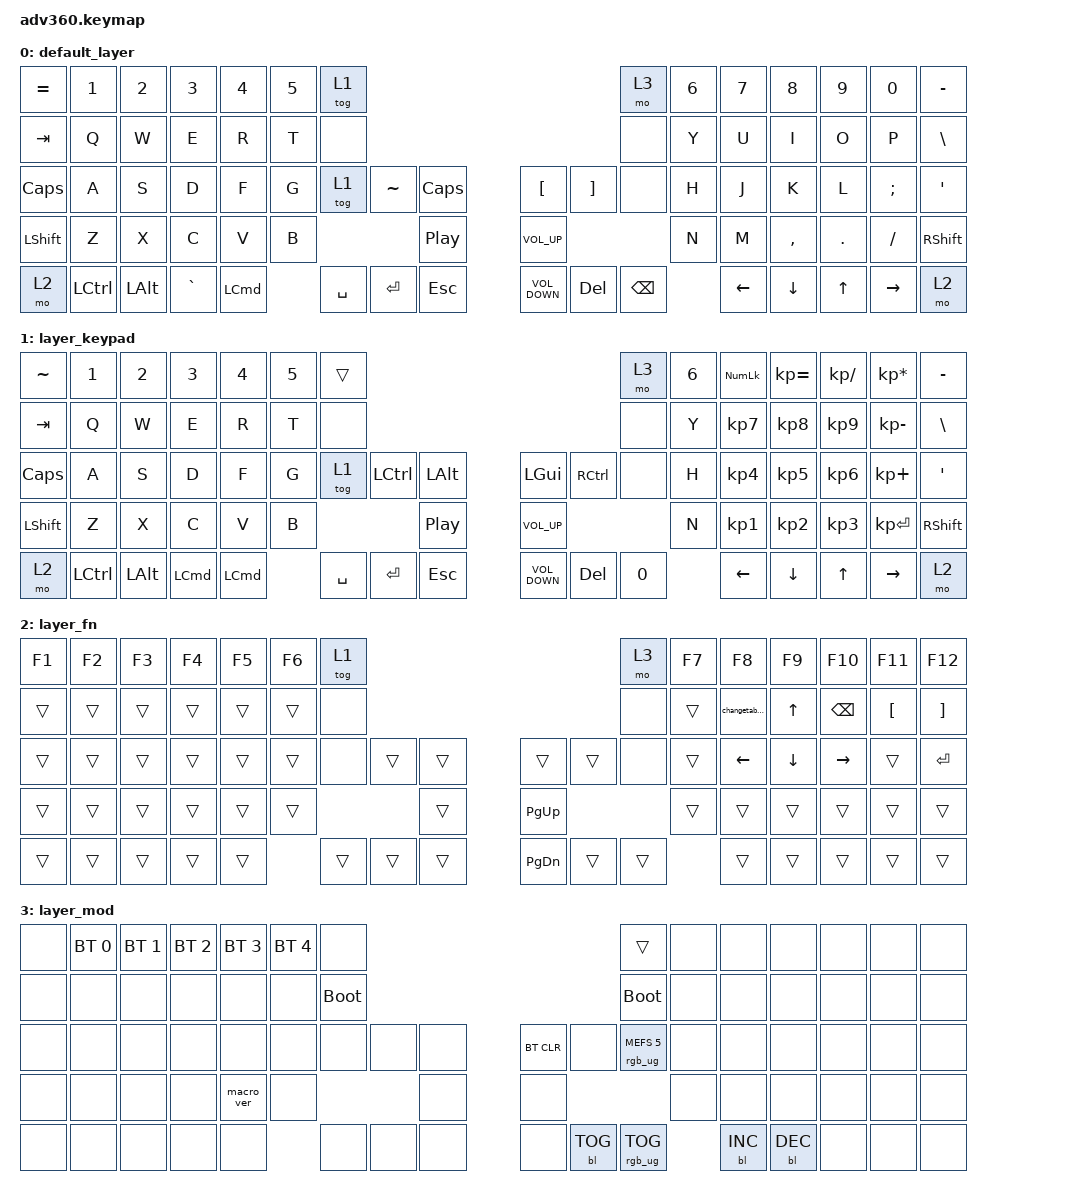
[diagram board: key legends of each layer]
/*
 * Copyright (c) 2020 The ZMK Contributors
 *
 * SPDX-License-Identifier: MIT
 */
/* THIS FILE WAS GENERATED!
 *
 * This file was generated automatically. You may or may not want to
 * edit it directly.
 */

#include <behaviors.dtsi>
#include <dt-bindings/zmk/backlight.h>
#include <dt-bindings/zmk/bt.h>
#include <dt-bindings/zmk/keys.h>
#include <dt-bindings/zmk/rgb.h>

/ {
    behaviors {
        #include "macros.dtsi"
    #include "version.dtsi"

        hm: homerow_mods {
            compatible = "zmk,behavior-hold-tap";
            label = "HOMEROW_MODS";
            #binding-cells = <2>;
            tapping-term-ms = <200>;
            quick_tap_ms = <175>;
            flavor = "tap-preferred";
            bindings = <&kp>, <&kp>;
        };
    };

    macros {
        changetabright: change_tab {
            compatible = "zmk,behavior-macro";
            #binding-cells = <0>;
            bindings = <&mo 2 &kp U>;
            label = "CHANGE_TAB";
        };

        changetableft: changetableft {
            compatible = "zmk,behavior-macro";
            #binding-cells = <0>;
            bindings = <&kp LEFT_COMMAND &kp LEFT_SHIFT &kp LEFT_BRACKET>;
            label = "CHANGETABLEFT";
        };

        cmd_grave_macro: cmd_grave_macro {
            compatible = "zmk,behavior-macro";
            label = "CMD_GRAVE_MACRO";
            #binding-cells = <0>;
            bindings = <&kp LGUI &kp GRAVE>;
        };
    };

    combos {
        compatible = "zmk,combos";

        combo_cmd_equal_as_cmd_grave {
            bindings = <&cmd_grave_macro>;
            key-positions = <28 42>;  // Replace with the appropriate key positions for Command and =
            timeout-ms = <50>;
            layers = <0>;  // Add other layers if needed
        };
    };

    keymap {
        compatible = "zmk,keymap";

        default_layer {
            bindings = <
&kp EQUAL     &kp N1            &kp N2        &kp N3     &kp N4            &kp N5  &tog 1                                                                            &mo 3          &kp N6  &kp N7    &kp N8     &kp N9   &kp N0     &kp MINUS
&kp TAB       &kp Q             &kp W         &kp E      &kp R             &kp T   &none                                                                             &none          &kp Y   &kp U     &kp I      &kp O    &kp P      &kp BSLH
&kp CAPSLOCK  &kp A             &kp S         &kp D      &kp F             &kp G   &tog 1     &kp TILDE  &kp CAPS              &kp LEFT_BRACKET   &kp RIGHT_BRACKET  &none          &kp H   &kp J     &kp K      &kp L    &kp SEMI   &kp SQT
&kp LSHFT     &kp Z             &kp X         &kp C      &kp V             &kp B                         &kp C_PLAY_PAUSE      &kp C_VOLUME_UP                                      &kp N   &kp M     &kp COMMA  &kp DOT  &kp FSLH   &kp RSHFT
&mo 2         &kp LEFT_CONTROL  &kp LEFT_ALT  &kp GRAVE  &kp LEFT_COMMAND          &kp SPACE  &kp ENTER  &kp ESC               &kp C_VOLUME_DOWN  &kp DELETE         &kp BACKSPACE          &kp LEFT  &kp DOWN   &kp UP   &kp RIGHT  &mo 2
            >;
        };

        layer_keypad {
            bindings = <
&kp TILDE     &kp N1            &kp N2        &kp N3            &kp N4            &kp N5  &trans                                                                     &mo 3   &kp N6  &kp KP_NUM  &kp KP_EQUAL  &kp KP_DIVIDE  &kp KP_MULTIPLY  &kp MINUS
&kp TAB       &kp Q             &kp W         &kp E             &kp R             &kp T   &none                                                                      &none   &kp Y   &kp KP_N7   &kp KP_N8     &kp KP_N9      &kp KP_MINUS     &kp BSLH
&kp CAPSLOCK  &kp A             &kp S         &kp D             &kp F             &kp G   &tog 1     &kp LCTRL  &kp LALT              &kp LGUI           &kp RCTRL   &none   &kp H   &kp KP_N4   &kp KP_N5     &kp KP_N6      &kp KP_PLUS      &kp SQT
&kp LSHFT     &kp Z             &kp X         &kp C             &kp V             &kp B                         &kp C_PLAY_PAUSE      &kp C_VOLUME_UP                        &kp N   &kp KP_N1   &kp KP_N2     &kp KP_N3      &kp KP_ENTER     &kp RSHFT
&mo 2         &kp LEFT_CONTROL  &kp LEFT_ALT  &kp LEFT_COMMAND  &kp LEFT_COMMAND          &kp SPACE  &kp ENTER  &kp ESC               &kp C_VOLUME_DOWN  &kp DELETE  &kp N0          &kp LEFT    &kp DOWN      &kp UP         &kp RIGHT        &mo 2
            >;
        };

        layer_fn {
            bindings = <
&kp F1  &kp F2  &kp F3  &kp F4  &kp F5  &kp F6  &tog 1                                             &mo 3   &kp F7  &kp F8           &kp F9        &kp F10        &kp F11           &kp F12
&trans  &trans  &trans  &trans  &trans  &trans  &none                                              &none   &trans  &changetabright  &kp UP_ARROW  &kp BACKSPACE  &kp LEFT_BRACKET  &kp RIGHT_BRACKET
&trans  &trans  &trans  &trans  &trans  &trans  &none   &trans  &trans      &trans         &trans  &none   &trans  &kp LEFT         &kp DOWN      &kp RIGHT      &trans            &kp RETURN
&trans  &trans  &trans  &trans  &trans  &trans                  &trans      &kp PAGE_UP                    &trans  &trans           &trans        &trans         &trans            &trans
&trans  &trans  &trans  &trans  &trans          &trans  &trans  &trans      &kp PAGE_DOWN  &trans  &trans          &trans           &trans        &trans         &trans            &trans
            >;
        };

        layer_mod {
            bindings = <
&none  &bt BT_SEL 0  &bt BT_SEL 1  &bt BT_SEL 2  &bt BT_SEL 3  &bt BT_SEL 4  &none                                                  &trans                  &none  &none       &none       &none  &none  &none
&none  &none         &none         &none         &none         &none         &bootloader                                            &bootloader             &none  &none       &none       &none  &none  &none
&none  &none         &none         &none         &none         &none         &none        &none  &none      &bt BT_CLR  &none       &rgb_ug RGB_MEFS_CMD 5  &none  &none       &none       &none  &none  &none
&none  &none         &none         &none         &macro_ver    &none                             &none      &none                                           &none  &none       &none       &none  &none  &none
&none  &none         &none         &none         &none                       &none        &none  &none      &none       &bl BL_TOG  &rgb_ug RGB_TOG                &bl BL_INC  &bl BL_DEC  &none  &none  &none
            >;
        };
    };
};
